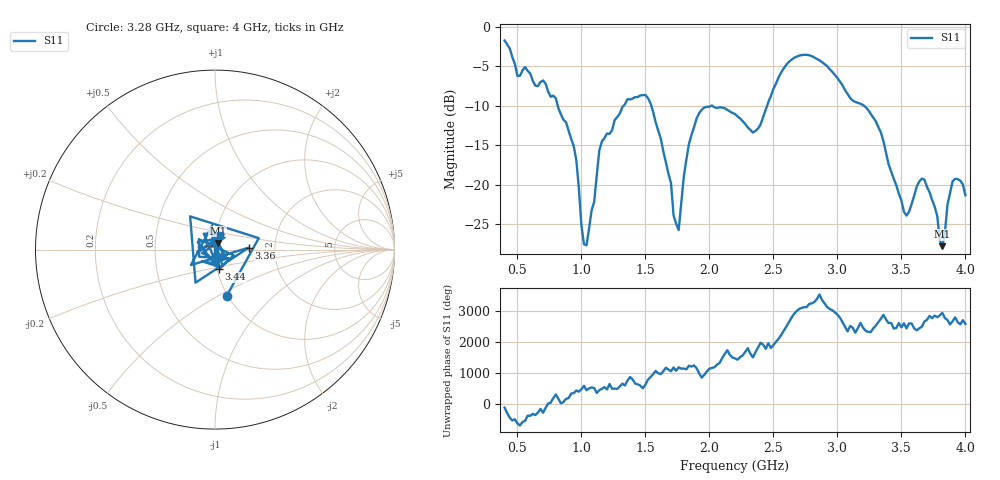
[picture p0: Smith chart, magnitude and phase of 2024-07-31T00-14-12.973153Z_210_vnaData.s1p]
!Created with skrf (http://scikit-rf.org).
# Hz S RI R 50.0
!freq ReS11 ImS11
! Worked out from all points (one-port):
!   181 points, 400 MHz to 4 GHz, reference 50 ohm
!   lowest |S11| = -27.8 dB at 3.82 GHz (marker M1), VSWR 1.08, Z = 51.4 + j3.87 ohm
!   |S11| at or under -10 dB: 815.2 MHz to 1.33 GHz (514.5 MHz wide, 48 % of centre); 1.546 GHz to 2.016 GHz (470.2 MHz wide, 26.4 % of centre); 3.208 GHz to end of sweep (the widest 3 of 4)
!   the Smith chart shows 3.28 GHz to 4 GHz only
!   S11 on the Smith chart (normalised r, x): 3.28 GHz: 0.99, -0.55; 3.36 GHz: 1.46, +0.03; 3.44 GHz: 1.02, -0.22; 4 GHz: 1.05, +0.17
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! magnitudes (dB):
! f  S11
! 400 MHz  -1.7
! 500 MHz  -6.2
! 700 MHz  -6.8
! 860 MHz  -11.8
! 960 MHz  -16.9
! 1 GHz  -25.2
! 1.04 GHz  -27.7
! 1.1 GHz  -22.2
! 1.14 GHz  -15.6
! 1.3 GHz  -11.0
! 1.52 GHz  -9.0
! 1.62 GHz  -14.1
! 1.76 GHz  -25.8
! 1.82 GHz  -16.8
! 1.9 GHz  -11.6
! 2.2 GHz  -11.0
! 2.38 GHz  -12.9
! 2.66 GHz  -3.9
! 2.88 GHz  -4.5
! 3.1 GHz  -9.0
! 3.28 GHz  -11.5
! 3.36 GHz  -14.5
! 3.44 GHz  -19.3
! 3.56 GHz  -23.4
! 3.68 GHz  -19.4
! 3.82 GHz  -27.8
! 3.9 GHz  -19.6
! 4 GHz  -21.4
